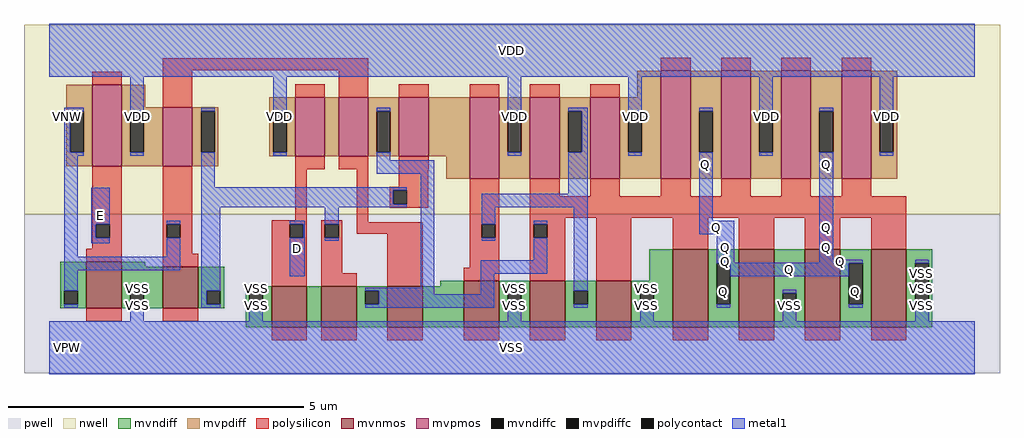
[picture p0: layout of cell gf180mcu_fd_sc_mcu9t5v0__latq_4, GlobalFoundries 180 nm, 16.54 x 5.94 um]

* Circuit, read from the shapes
.subckt gf180mcu_fd_sc_mcu9t5v0__latq_4 D E Q VDD VNW VPW VSS
XM1 VSS E n1 VPW nfet_06v0 w=0.79u l=0.6u
XM2 n2 n1 VSS VPW nfet_06v0 w=0.7u l=0.6u
XM3 n3 D VSS VPW nfet_06v0 w=0.7u l=0.6u
XM4 n4 n2 n3 VPW nfet_06v0 w=0.7u l=0.6u
XM5 n5 n1 n4 VPW nfet_06v0 w=0.7u l=0.6u
XM6 VSS n6 n5 VPW nfet_06v0 w=0.79u l=0.6u
XM7 n6 n4 VSS VPW nfet_06v0 w=0.79u l=0.6u m=2
XM8 Q n4 VSS VPW nfet_06v0 w=1.32u l=0.6u m=4
XM9 VDD E n1 VNW pfet_06v0 w=1.38u l=0.5u
XM10 n2 n1 VDD VNW pfet_06v0 w=1u l=0.5u
XM11 n7 D VDD VNW pfet_06v0 w=1u l=0.5u
XM12 n4 n1 n7 VNW pfet_06v0 w=1u l=0.5u
XM13 n8 n2 n4 VNW pfet_06v0 w=1u l=0.5u
XM14 VDD n6 n8 VNW pfet_06v0 w=1.38u l=0.5u
XM15 n6 n4 VDD VNW pfet_06v0 w=1.38u l=0.5u m=2
XM16 Q n4 VDD VNW pfet_06v0 w=1.83u l=0.5u m=4
.ends

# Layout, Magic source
magic
tech gf180mcuD
magscale 1 10
<< nwell >>
rect -86 453 3222 1094
<< pwell >>
rect -86 -86 3222 453
<< mvnmos >>
rect 125 134 245 292
rect 385 134 505 274
rect 753 69 873 209
rect 921 69 1041 209
rect 1145 69 1265 209
rect 1405 69 1525 227
rect 1629 69 1749 227
rect 1853 69 1973 227
rect 2113 69 2233 333
rect 2337 69 2457 333
rect 2561 69 2681 333
rect 2785 69 2905 333
<< mvpmos >>
rect 145 615 245 891
rect 385 615 485 815
rect 833 649 933 849
rect 981 649 1081 849
rect 1185 649 1285 849
rect 1425 573 1525 849
rect 1629 573 1729 849
rect 1833 573 1933 849
rect 2073 573 2173 939
rect 2277 573 2377 939
rect 2481 573 2581 939
rect 2685 573 2785 939
<< mvndiff >>
rect 37 193 125 292
rect 37 147 50 193
rect 96 147 125 193
rect 37 134 125 147
rect 245 274 325 292
rect 245 193 385 274
rect 245 147 274 193
rect 320 147 385 193
rect 245 134 385 147
rect 505 193 593 274
rect 2033 227 2113 333
rect 1325 209 1405 227
rect 505 147 534 193
rect 580 147 593 193
rect 505 134 593 147
rect 665 193 753 209
rect 665 147 678 193
rect 724 147 753 193
rect 665 69 753 147
rect 873 69 921 209
rect 1041 193 1145 209
rect 1041 147 1070 193
rect 1116 147 1145 193
rect 1041 69 1145 147
rect 1265 69 1405 209
rect 1525 193 1629 227
rect 1525 147 1554 193
rect 1600 147 1629 193
rect 1525 69 1629 147
rect 1749 193 1853 227
rect 1749 147 1778 193
rect 1824 147 1853 193
rect 1749 69 1853 147
rect 1973 193 2113 227
rect 1973 147 2002 193
rect 2048 147 2113 193
rect 1973 69 2113 147
rect 2233 287 2337 333
rect 2233 147 2262 287
rect 2308 147 2337 287
rect 2233 69 2337 147
rect 2457 185 2561 333
rect 2457 139 2486 185
rect 2532 139 2561 185
rect 2457 69 2561 139
rect 2681 287 2785 333
rect 2681 147 2710 287
rect 2756 147 2785 287
rect 2681 69 2785 147
rect 2905 287 2993 333
rect 2905 147 2934 287
rect 2980 147 2993 287
rect 2905 69 2993 147
<< mvpdiff >>
rect 57 802 145 891
rect 57 662 70 802
rect 116 662 145 802
rect 57 615 145 662
rect 245 815 325 891
rect 1993 849 2073 939
rect 245 802 385 815
rect 245 662 274 802
rect 320 662 385 802
rect 245 615 385 662
rect 485 802 573 815
rect 485 662 514 802
rect 560 662 573 802
rect 485 615 573 662
rect 745 802 833 849
rect 745 662 758 802
rect 804 662 833 802
rect 745 649 833 662
rect 933 649 981 849
rect 1081 802 1185 849
rect 1081 662 1110 802
rect 1156 662 1185 802
rect 1081 649 1185 662
rect 1285 649 1425 849
rect 1345 573 1425 649
rect 1525 802 1629 849
rect 1525 662 1554 802
rect 1600 662 1629 802
rect 1525 573 1629 662
rect 1729 802 1833 849
rect 1729 662 1758 802
rect 1804 662 1833 802
rect 1729 573 1833 662
rect 1933 802 2073 849
rect 1933 662 1962 802
rect 2008 662 2073 802
rect 1933 573 2073 662
rect 2173 802 2277 939
rect 2173 662 2202 802
rect 2248 662 2277 802
rect 2173 573 2277 662
rect 2377 802 2481 939
rect 2377 662 2406 802
rect 2452 662 2481 802
rect 2377 573 2481 662
rect 2581 802 2685 939
rect 2581 662 2610 802
rect 2656 662 2685 802
rect 2581 573 2685 662
rect 2785 802 2873 939
rect 2785 662 2814 802
rect 2860 662 2873 802
rect 2785 573 2873 662
<< mvndiffc >>
rect 50 147 96 193
rect 274 147 320 193
rect 534 147 580 193
rect 678 147 724 193
rect 1070 147 1116 193
rect 1554 147 1600 193
rect 1778 147 1824 193
rect 2002 147 2048 193
rect 2262 147 2308 287
rect 2486 139 2532 185
rect 2710 147 2756 287
rect 2934 147 2980 287
<< mvpdiffc >>
rect 70 662 116 802
rect 274 662 320 802
rect 514 662 560 802
rect 758 662 804 802
rect 1110 662 1156 802
rect 1554 662 1600 802
rect 1758 662 1804 802
rect 1962 662 2008 802
rect 2202 662 2248 802
rect 2406 662 2452 802
rect 2610 662 2656 802
rect 2814 662 2860 802
<< polysilicon >>
rect 385 941 1081 981
rect 145 891 245 935
rect 385 815 485 941
rect 833 849 933 893
rect 981 849 1081 941
rect 2073 939 2173 983
rect 2277 939 2377 983
rect 2481 939 2581 983
rect 2685 939 2785 983
rect 1185 849 1285 893
rect 1425 849 1525 893
rect 1629 849 1729 893
rect 1833 849 1933 893
rect 145 419 245 615
rect 145 373 158 419
rect 204 373 245 419
rect 145 336 245 373
rect 125 292 245 336
rect 385 419 485 615
rect 833 605 933 649
rect 981 605 1081 649
rect 833 432 873 605
rect 385 373 398 419
rect 444 373 485 419
rect 385 318 485 373
rect 753 419 873 432
rect 753 373 814 419
rect 860 373 873 419
rect 385 274 505 318
rect 753 209 873 373
rect 921 419 993 432
rect 921 373 934 419
rect 980 373 993 419
rect 1041 426 1081 605
rect 1185 605 1285 649
rect 1185 546 1284 605
rect 1153 533 1284 546
rect 1153 487 1166 533
rect 1212 487 1284 533
rect 1153 474 1284 487
rect 1041 386 1265 426
rect 921 253 993 373
rect 921 209 1041 253
rect 1145 209 1265 386
rect 1425 419 1525 573
rect 1425 373 1466 419
rect 1512 373 1525 419
rect 1425 271 1525 373
rect 1405 227 1525 271
rect 1629 513 1729 573
rect 1833 513 1933 573
rect 2073 513 2173 573
rect 2277 513 2377 573
rect 2481 513 2581 573
rect 2685 513 2785 573
rect 1629 441 2905 513
rect 1629 419 1749 441
rect 1629 373 1642 419
rect 1688 373 1749 419
rect 1629 227 1749 373
rect 1853 227 1973 441
rect 2113 333 2233 441
rect 2337 333 2457 441
rect 2561 333 2681 441
rect 2785 333 2905 441
rect 125 90 245 134
rect 385 90 505 134
rect 753 25 873 69
rect 921 25 1041 69
rect 1145 25 1265 69
rect 1405 25 1525 69
rect 1629 25 1749 69
rect 1853 25 1973 69
rect 2113 25 2233 69
rect 2337 25 2457 69
rect 2561 25 2681 69
rect 2785 25 2905 69
<< polycontact >>
rect 158 373 204 419
rect 398 373 444 419
rect 814 373 860 419
rect 934 373 980 419
rect 1166 487 1212 533
rect 1466 373 1512 419
rect 1642 373 1688 419
<< metal1 >>
rect 0 918 3136 1098
rect 50 802 116 813
rect 50 662 70 802
rect 50 651 116 662
rect 274 802 320 918
rect 274 651 320 662
rect 514 802 560 813
rect 50 308 96 651
rect 514 544 560 662
rect 758 802 804 918
rect 758 651 804 662
rect 1110 802 1156 813
rect 1110 636 1156 662
rect 1554 802 1600 918
rect 1554 651 1600 662
rect 1758 802 1824 813
rect 1804 662 1824 802
rect 1110 590 1304 636
rect 142 419 204 542
rect 514 533 1212 544
rect 514 487 1166 533
rect 514 476 1212 487
rect 142 373 158 419
rect 142 354 204 373
rect 398 419 444 430
rect 398 308 444 373
rect 50 262 444 308
rect 50 193 96 262
rect 50 136 96 147
rect 274 193 320 204
rect 274 90 320 147
rect 514 193 580 476
rect 814 419 866 430
rect 860 373 866 419
rect 814 242 866 373
rect 934 419 980 476
rect 934 362 980 373
rect 1258 204 1304 590
rect 1758 522 1824 662
rect 1962 802 2008 918
rect 1962 651 2008 662
rect 2202 802 2248 813
rect 1466 476 1824 522
rect 1466 419 1512 476
rect 1466 362 1512 373
rect 1642 419 1688 430
rect 1642 296 1688 373
rect 514 147 534 193
rect 514 136 580 147
rect 678 193 724 204
rect 678 90 724 147
rect 1070 193 1304 204
rect 1116 182 1304 193
rect 1462 250 1688 296
rect 1462 182 1508 250
rect 1116 147 1508 182
rect 1070 136 1508 147
rect 1554 193 1600 204
rect 1554 90 1600 147
rect 1778 193 1824 476
rect 2202 430 2248 662
rect 2406 802 2452 918
rect 2406 651 2452 662
rect 2610 802 2656 813
rect 2202 384 2322 430
rect 2262 288 2322 384
rect 2610 298 2656 662
rect 2814 802 2860 918
rect 2814 651 2860 662
rect 2610 288 2756 298
rect 2262 287 2756 288
rect 1778 136 1824 147
rect 2002 193 2048 204
rect 2002 90 2048 147
rect 2308 242 2710 287
rect 2262 136 2308 147
rect 2486 185 2532 196
rect 2486 90 2532 139
rect 2710 136 2756 147
rect 2934 287 2980 298
rect 2934 90 2980 147
rect 0 -90 3136 90
<< labels >>
flabel metal1 s 814 242 866 430 0 FreeSans 200 0 0 0 D
port 1 nsew default input
flabel metal1 s 142 354 204 542 0 FreeSans 200 0 0 0 E
port 2 nsew clock input
flabel metal1 s 2610 430 2656 813 0 FreeSans 200 0 0 0 Q
port 3 nsew default output
flabel metal1 s 0 918 3136 1098 0 FreeSans 200 0 0 0 VDD
port 4 nsew power bidirectional abutment
flabel metal1 s 2934 204 2980 298 0 FreeSans 200 0 0 0 VSS
port 7 nsew ground bidirectional abutment
flabel nwell s 10 734 110 834 0 FreeSans 400 0 0 0 VNW
port 5 nsew power bidirectional
flabel pwell s 10 -50 110 50 0 FreeSans 400 0 0 0 VPW
port 6 nsew ground bidirectional
rlabel metal1 s 2202 430 2248 813 1 Q
port 3 nsew default output
rlabel metal1 s 2610 384 2656 430 1 Q
port 3 nsew default output
rlabel metal1 s 2202 384 2322 430 1 Q
port 3 nsew default output
rlabel metal1 s 2610 298 2656 384 1 Q
port 3 nsew default output
rlabel metal1 s 2262 298 2322 384 1 Q
port 3 nsew default output
rlabel metal1 s 2610 288 2756 298 1 Q
port 3 nsew default output
rlabel metal1 s 2262 288 2322 298 1 Q
port 3 nsew default output
rlabel metal1 s 2262 242 2756 288 1 Q
port 3 nsew default output
rlabel metal1 s 2710 136 2756 242 1 Q
port 3 nsew default output
rlabel metal1 s 2262 136 2308 242 1 Q
port 3 nsew default output
rlabel metal1 s 2814 651 2860 918 1 VDD
port 4 nsew power bidirectional abutment
rlabel metal1 s 2406 651 2452 918 1 VDD
port 4 nsew power bidirectional abutment
rlabel metal1 s 1962 651 2008 918 1 VDD
port 4 nsew power bidirectional abutment
rlabel metal1 s 1554 651 1600 918 1 VDD
port 4 nsew power bidirectional abutment
rlabel metal1 s 758 651 804 918 1 VDD
port 4 nsew power bidirectional abutment
rlabel metal1 s 274 651 320 918 1 VDD
port 4 nsew power bidirectional abutment
rlabel metal1 s 2934 196 2980 204 1 VSS
port 7 nsew ground bidirectional abutment
rlabel metal1 s 2002 196 2048 204 1 VSS
port 7 nsew ground bidirectional abutment
rlabel metal1 s 1554 196 1600 204 1 VSS
port 7 nsew ground bidirectional abutment
rlabel metal1 s 678 196 724 204 1 VSS
port 7 nsew ground bidirectional abutment
rlabel metal1 s 274 196 320 204 1 VSS
port 7 nsew ground bidirectional abutment
rlabel metal1 s 2934 90 2980 196 1 VSS
port 7 nsew ground bidirectional abutment
rlabel metal1 s 2486 90 2532 196 1 VSS
port 7 nsew ground bidirectional abutment
rlabel metal1 s 2002 90 2048 196 1 VSS
port 7 nsew ground bidirectional abutment
rlabel metal1 s 1554 90 1600 196 1 VSS
port 7 nsew ground bidirectional abutment
rlabel metal1 s 678 90 724 196 1 VSS
port 7 nsew ground bidirectional abutment
rlabel metal1 s 274 90 320 196 1 VSS
port 7 nsew ground bidirectional abutment
rlabel metal1 s 0 -90 3136 90 1 VSS
port 7 nsew ground bidirectional abutment
<< properties >>
string FIXED_BBOX 0 0 3136 1008
string GDS_END 1001938
string GDS_FILE $PDKPATH/libs.ref/gf180mcu_fd_sc_mcu9t5v0/gds/gf180mcu_fd_sc_mcu9t5v0.gds
string GDS_START 995070
string LEFclass core
string LEFsite GF018hv5v_green_sc9
string LEFsymmetry X Y
<< end >>
